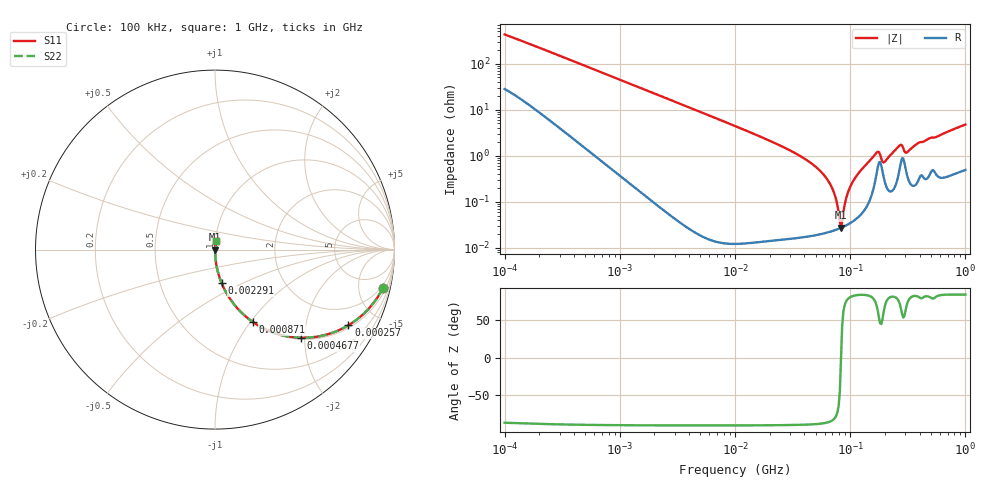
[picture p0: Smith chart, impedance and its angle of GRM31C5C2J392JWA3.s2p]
!Murata Part Number: GRM31C5C2J392JWA3
!These Parameters are Measured in Series Mode Connection
!Data Generated on Mar 30, 2021
!  o--ll--o
!Port1  Port2
!  o------o
!Operation Temp=25[degC], DC Bias Voltage=0[V]
!Freq. Start=100[kHz] Stop=1000[MHz] 401[Steps]
# Hz S RI R 50
!Freq.(Hz) S11(Real) S11(Imag) S21(Real) S21(Imag) S12(Real) S12(Imag) S22(Real) S22(Imag)
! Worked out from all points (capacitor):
!   401 points, 100 kHz to 1 GHz, reference 50 ohm
!   read as one part in series: C = 3.65 nF near 104.7 kHz
!   lowest |Z| = 27 mohm at 83.18 MHz (marker M1)
!   series resonance near 83.27 MHz, so ESL is about 1 nH
!   S11 on the Smith chart (normalised r, x): 100 kHz: 1.56, -8.57; 257 kHz: 1.11, -3.46; 467.7 kHz: 1.03, -1.91; 871 kHz: 1.01, -1.03; 2.291 MHz: 1.00, -0.39; 1 GHz: 1.01, +0.09
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100000  0.936 -0.2142  0.064 0.2142  0.064 0.2142  0.936 -0.2142
257040  0.7432 -0.4216  0.2568 0.4216  0.2568 0.4216  0.7432 -0.4216
467735  0.4776 -0.4909  0.5224 0.4909  0.5224 0.4909  0.4776 -0.4909
870964  0.2111 -0.4034  0.7889 0.4034  0.7889 0.4034  0.2111 -0.4034
2187762  0.0408 -0.196  0.9592 0.196  0.9592 0.196  0.0408 -0.196
2290868  0.0374 -0.1878  0.9626 0.1878  0.9626 0.1878  0.0374 -0.1878
1e7  0.00206 -0.044  0.9979 0.044  0.9979 0.044  0.00206 -0.044
4.677351e7  0.000224 -0.00658  0.9998 0.00658  0.9998 0.00658  0.000224 -0.00658
6.76083e7  0.000229 -0.00229  0.9998 0.00229  0.9998 0.00229  0.000229 -0.00229
7.413102e7  0.000243 -0.00128  0.9998 0.00128  0.9998 0.00128  0.000243 -0.00128
7.943282e7  0.000258 -0.000519  0.9997 0.000519  0.9997 0.000519  0.000258 -0.000519
8.317638e7  0.00027 -1.25e-05  0.9997 1.25e-05  0.9997 1.25e-05  0.00027 -1.25e-05
8.709636e7  0.000284 0.000498  0.9997 -0.000498  0.9997 -0.000498  0.000284 0.000498
9.772372e7  0.000333 0.0018  0.9997 -0.0018  0.9997 -0.0018  0.000333 0.0018
1.174898e8  0.000477 0.00405  0.9995 -0.00405  0.9995 -0.00405  0.000477 0.00405
1.698244e8  0.00429 0.0108  0.9957 -0.0108  0.9957 -0.0108  0.00429 0.0108
1.949845e8  0.00349 0.00615  0.9965 -0.00615  0.9965 -0.00615  0.00349 0.00615
2.187762e8  0.00178 0.00952  0.9982 -0.00952  0.9982 -0.00952  0.00178 0.00952
2.691535e8  0.00544 0.0158  0.9946 -0.0158  0.9946 -0.0158  0.00544 0.0158
3.162278e8  0.00341 0.0116  0.9966 -0.0116  0.9966 -0.0116  0.00341 0.0116
3.890451e8  0.00316 0.0184  0.9968 -0.0184  0.9968 -0.0184  0.00316 0.0184
1e9  0.00705 0.0466  0.9929 -0.0466  0.9929 -0.0466  0.00705 0.0466
